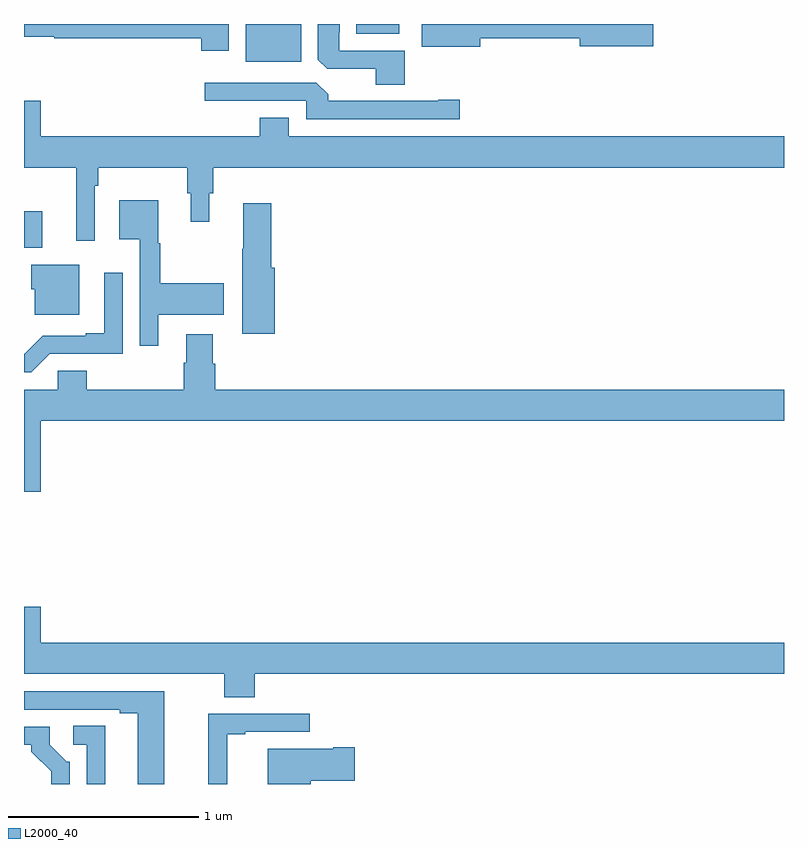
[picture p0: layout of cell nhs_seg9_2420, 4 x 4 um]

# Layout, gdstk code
import gdstk
lib = gdstk.Library(unit=1e-6, precision=1e-09)
def R(c, l, rs):  # rectangles x0, y0, x1, y1
    for r in rs: c.add(gdstk.rectangle(r[:2], r[2:], *l))
def P(c, l, *ps):  # polygons
    for p in ps: c.add(gdstk.Polygon(p, *l))
L2000_40 = (2000, 40)

nhs_seg9_2420 = lib.new_cell('nhs_seg9_2420')
R(nhs_seg9_2420, L2000_40, [(249,1205.322,249.095,1205.515), (250.166,1206.302,250.459,1206.5), (250.748,1206.449,250.975,1206.5)])
P(nhs_seg9_2420, L2000_40, [(251.401,1206.424),(251.924,1206.424),(251.924,1206.382),(252.313,1206.382),(252.313,1206.5),(251.094,1206.5),(251.094,1206.38),(251.401,1206.38)],
  [(250.078,1206.5),(249,1206.5),(249,1206.432),(249.159,1206.432),(249.159,1206.424),(249.932,1206.424),(249.932,1206.36),(250.078,1206.36)],
  [(251.003,1206.36),(250.659,1206.36),(250.659,1206.457),(250.663,1206.457),(250.663,1206.5),(250.547,1206.5),(250.547,1206.313),(250.596,1206.264),(250.85,1206.264),(250.85,1206.181),(251.003,1206.181)],
  [(251.293,1206.101),(251.18,1206.101),(251.18,1206.096),(250.601,1206.096),(250.601,1206.13),(250.539,1206.192),(249.951,1206.192),(249.951,1206.096),(250.485,1206.096),(250.485,1206),(251.293,1206)],
  [(249.372,1205.648),(249.392,1205.648),(249.392,1205.744),(249.859,1205.744),(249.859,1205.61),(249.878,1205.61),(249.878,1205.46),(249.976,1205.46),(249.976,1205.61),(249.995,1205.61),(249.995,1205.744),(253,1205.744),(253,1205.908),(250.393,1205.908),(250.393,1206.007),(250.241,1206.007),(250.241,1205.908),(249.088,1205.908),(249.088,1206.097),(249,1206.097),(249,1205.744),(249.275,1205.744),(249.275,1205.358),(249.372,1205.358)],
  [(249.706,1204.97),(250.051,1204.97),(250.051,1205.136),(249.718,1205.136),(249.718,1205.346),(249.706,1205.346),(249.706,1205.572),(249.5,1205.572),(249.5,1205.366),(249.609,1205.366),(249.609,1204.806),(249.706,1204.806)],
  [(250.319,1205.217),(250.301,1205.217),(250.301,1205.557),(250.154,1205.557),(250.154,1205.317),(250.148,1205.317),(250.148,1204.869),(250.319,1204.869)],
  [(249.292,1205.233),(249.038,1205.233),(249.038,1205.103),(249.056,1205.103),(249.056,1204.97),(249.292,1204.97)],
  [(249.135,1204.764),(249.519,1204.764),(249.519,1205.191),(249.422,1205.191),(249.422,1204.873),(249.326,1204.873),(249.326,1204.86),(249.099,1204.86),(249.003,1204.764),(249,1204.764),(249,1204.668),(249.039,1204.668)],
  [(249.088,1204.412),(253,1204.412),(253,1204.576),(250.007,1204.576),(250.007,1204.713),(249.994,1204.713),(249.994,1204.867),(249.854,1204.867),(249.854,1204.718),(249.842,1204.718),(249.842,1204.576),(249.329,1204.576),(249.329,1204.674),(249.177,1204.674),(249.177,1204.576),(249,1204.576),(249,1204.038),(249.088,1204.038)],
  [(250.214,1203.08),(253,1203.08),(253,1203.244),(249.088,1203.244),(249.088,1203.433),(249,1203.433),(249,1203.08),(250.054,1203.08),(250.054,1202.956),(250.214,1202.956)],
  [(249.739,1202.988),(249,1202.988),(249,1202.892),(249.503,1202.892),(249.503,1202.872),(249.599,1202.872),(249.599,1202.5),(249.739,1202.5)],
  [(250.07,1202.763),(250.165,1202.763),(250.165,1202.775),(250.504,1202.775),(250.504,1202.871),(249.97,1202.871),(249.97,1202.5),(250.07,1202.5)],
  [(249.427,1202.807),(249.258,1202.807),(249.258,1202.706),(249.33,1202.706),(249.33,1202.5),(249.427,1202.5)],
  [(249.24,1202.616),(249.225,1202.616),(249.135,1202.706),(249.135,1202.802),(249,1202.802),(249,1202.706),(249.038,1202.706),(249.038,1202.671),(249.143,1202.566),(249.143,1202.5),(249.24,1202.5)],
  [(250.51,1202.516),(250.741,1202.516),(250.741,1202.694),(250.628,1202.694),(250.628,1202.686),(250.283,1202.686),(250.283,1202.5),(250.51,1202.5)])

lib.write_gds('nhs_seg9_2420.gds')
